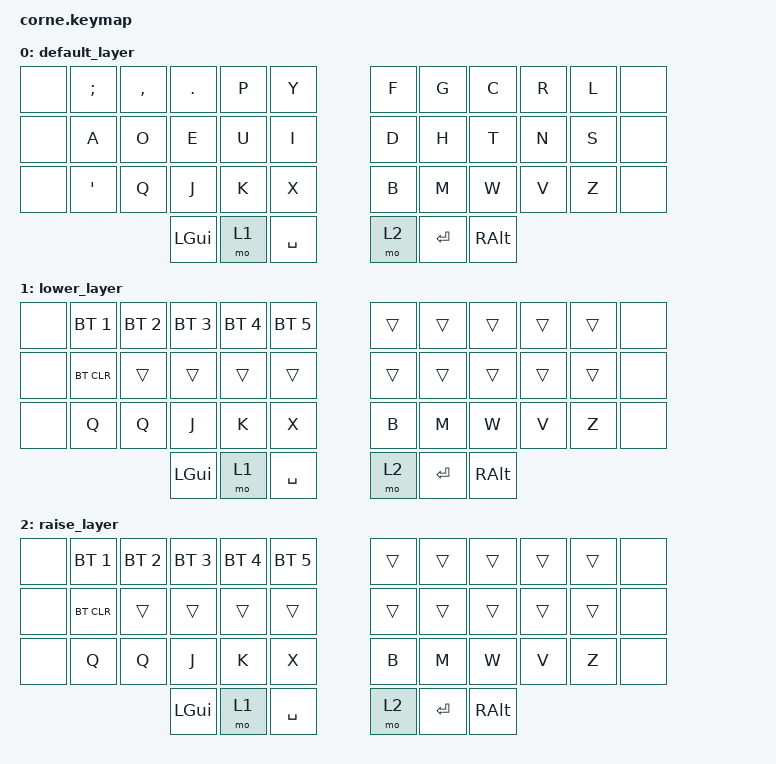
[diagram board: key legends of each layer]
/*
 * Copyright (c) 2020 The ZMK Contributors
 *
 * SPDX-License-Identifier: MIT
 */

#include <behaviors.dtsi>
#include <dt-bindings/zmk/keys.h>
#include <dt-bindings/zmk/bt.h>

/ {
        keymap {
                compatible = "zmk,keymap";

                default_layer {
                        bindings = <
//      ___________________________________________________________       ___________________________________________________________
//     |           |           |           |           |           |     |           |           |           |           |           |
&none    &kp SEMI    &kp COMMA   &kp DOT     &kp P       &kp Y             &kp F       &kp G       &kp C       &kp R       &kp L       &none
//     |___________|___________|___________|___________|___________|     |___________|___________|___________|___________|___________|
//     |           |           |           |           |           |     |           |           |           |           |           |
&none    &kp A       &kp O       &kp E       &kp U       &kp I             &kp D       &kp H       &kp T       &kp N       &kp S       &none
//     |___________|___________|___________|___________|___________|     |___________|___________|___________|___________|___________|
//     |           |           |           |           |           |     |           |           |           |           |           |
&none    &kp APOS    &kp Q       &kp J       &kp K       &kp X             &kp B       &kp M       &kp W       &kp V       &kp Z       &none
//     |___________|___________|___________|___________|___________|     |___________|___________|___________|___________|___________|
//                             |           |           |           |     |           |           |           |
                                 &kp LGUI    &mo 1       &kp SPACE         &mo 2       &kp RET     &kp RALT
//                             |___________|___________|___________|     |___________|___________|___________|
                        >;
                };

                lower_layer {

                        bindings = <
//      ___________________________________________________________       ___________________________________________________________
//     |           |           |           |           |           |     |           |           |           |           |           |
&none   &bt BT_SEL1 &bt BT_SEL2 &bt BT_SEL3 &bt BT_SEL4 &bt BT_SEL5        &trans     &trans      &trans      &trans      &trans       &none
//     |___________|___________|___________|___________|___________|     |___________|___________|___________|___________|___________|
//     |           |           |           |           |           |     |           |           |           |           |           |
&none   &bt BT_CLR   &trans      &trans      &trans      &trans            &trans     &trans      &trans      &trans      &trans       &none
//     |___________|___________|___________|___________|___________|     |___________|___________|___________|___________|___________|
//     |           |           |           |           |           |     |           |           |           |           |           |
&none    &kp Q       &kp Q       &kp J       &kp K       &kp X             &kp B       &kp M       &kp W       &kp V       &kp Z       &none
//     |___________|___________|___________|___________|___________|     |___________|___________|___________|___________|___________|
//                             |           |           |           |     |           |           |           |
                                 &kp LGUI    &mo 1       &kp SPACE         &mo 2       &kp RET     &kp RALT
//                             |___________|___________|___________|     |___________|___________|___________|
                        >;
                };

                raise_layer {
                        bindings = <
//      ___________________________________________________________       ___________________________________________________________
//     |           |           |           |           |           |     |           |           |           |           |           |
&none   &bt BT_SEL1 &bt BT_SEL2 &bt BT_SEL3 &bt BT_SEL4 &bt BT_SEL5        &trans     &trans      &trans      &trans      &trans       &none
//     |___________|___________|___________|___________|___________|     |___________|___________|___________|___________|___________|
//     |           |           |           |           |           |     |           |           |           |           |           |
&none   &bt BT_CLR   &trans      &trans      &trans      &trans            &trans     &trans      &trans      &trans      &trans       &none
//     |___________|___________|___________|___________|___________|     |___________|___________|___________|___________|___________|
//     |           |           |           |           |           |     |           |           |           |           |           |
&none    &kp Q       &kp Q       &kp J       &kp K       &kp X             &kp B       &kp M       &kp W       &kp V       &kp Z       &none
//     |___________|___________|___________|___________|___________|     |___________|___________|___________|___________|___________|
//                             |           |           |           |     |           |           |           |
                                 &kp LGUI    &mo 1       &kp SPACE         &mo 2       &kp RET           &kp RALT
//                             |___________|___________|___________|     |___________|___________|___________|
                        >;
                };
        };
};
